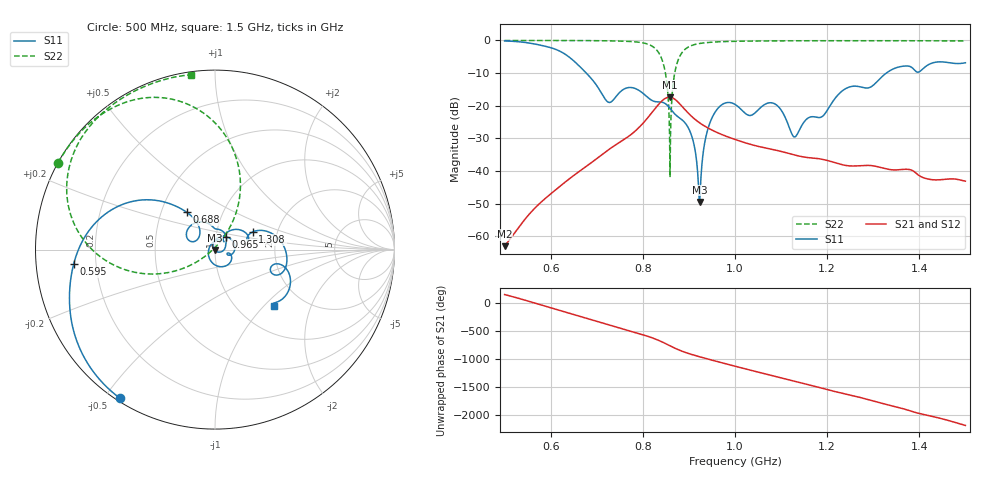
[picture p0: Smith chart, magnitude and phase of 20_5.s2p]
! TOUCHSTONE file generated by CST MICROWAVE STUDIO
! Date and time: Fri Oct  2 19:12:47 2020
! Project name: Scenario_1_Free_Space_out_of_line.cst
! Parameters = {Lambda=346.42; Step_1=17.321; dy1=18.161; dx1=866; L_HA=400; MT=2.54; Rad_Dielectric=30; Rad_Lower=7.3; Rad_Upper=30; a_HA=580; a_WG=246; b_HA=500; b_WG=121; c_HA=0; c_WG=187; d_feed=85; h_feed=15; h_lower=18; h_upper=40}
! Header version: 2018
! Port assignment regex: !\s*Touchstone port\s*([0-9]+)\s*=\s*(CST MWS port|CST DS port)\s*([0-9]+|Zmin|Zmax)\s*\(\"(.*)\"\)(\s*mode\s*([0-9]+))?.*
! Touchstone port assignment:
! Touchstone port 1 = CST MWS port 1 ("")
! Touchstone port 2 = CST MWS port 2 ("")
# GHz S DB R 50
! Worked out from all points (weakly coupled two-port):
!   1003 points, 500 MHz to 1.5 GHz, reference 50 ohm
!   highest |S21| = -17.37 dB at 858 MHz (marker M1); lowest = -63.0 dB at 500 MHz (marker M2)
!   lowest |S11| = -49.5 dB at 923 MHz (marker M3), VSWR 1.01, Z = 49.7 - j0.21 ohm
!   |S11| at or under -10 dB: 677.3 MHz to 1.328 GHz (651 MHz wide, 64.9 % of centre)
!   |S22| runs from -41.9 to 0.0 dB; largest |S21 - S12| = 6.5e-06
!   S11 on the Smith chart (normalised r, x): 500 MHz: 0.01, -0.55; 595 MHz: 0.12, -0.05; 688 MHz: 0.67, +0.30; 965 MHz: 1.12, +0.16; 1.308 GHz: 1.49, +0.31; 1.5 GHz: 1.43, -1.14
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0.5  -0.15 -122.6  -63.01 143.7  -63.01 143.7  -0.01 151.1
0.595  -2.03 -174.1  -47.58 -80.2  -47.58 -80.2  -0.02 144.5
0.667  -8.53 135.8  -39.62 108.2  -39.62 108.2  -0.04 138.3
0.688  -11.65 127.2  -37.46 59.0  -37.46 59.0  -0.06 136.1
0.726  -18.97 143.8  -33.42 -32.2  -33.42 -32.2  -0.12 131.3
0.772  -14.41 138.6  -29.07 -142.9  -29.07 -142.9  -0.31 122.6
0.834  -18.82 82.9  -19.61 50.4  -19.61 50.4  -3.68 86.0
0.848  -19.29 63.0  -17.81 -2.0  -17.81 -2.0  -9.24 66.1
0.858  -20.61 46.8  -17.37 -42.7  -17.37 -42.7  -29.19 60.0
0.878  -23.57 25.1  -19.12 -119.7  -19.12 -119.7  -5.52 -168.5
0.906  -29.25 -22.8  -23.28 159.4  -23.28 159.4  -1.54 165.3
0.923  -49.51 -140.8  -25.22 119.0  -25.22 119.0  -0.94 157.0
0.94  -27.70 100.7  -26.71 80.7  -26.71 80.7  -0.65 151.5
0.965  -20.47 49.6  -28.44 25.9  -28.44 25.9  -0.42 145.8
1  -19.59 -8.4  -30.33 -49.1  -30.33 -49.1  -0.26 140.2
1.032  -22.98 -18.6  -31.77 -116.3  -31.77 -116.3  -0.19 136.3
1.086  -19.40 -60.7  -33.53 131.5  -33.53 131.5  -0.13 130.9
1.129  -29.57 157.3  -35.08 42.2  -35.08 42.2  -0.11 127.2
1.167  -23.36 45.7  -36.01 -33.7  -36.01 -33.7  -0.10 124.1
1.308  -12.67 25.1  -38.63 35.2  -38.63 35.2  -0.09 113.4
1.334  -9.45 14.5  -39.51 -19.3  -39.51 -19.3  -0.09 111.4
1.5  -6.85 -44.2  -43.10 -21.4  -43.09 -21.4  -0.14 97.9
